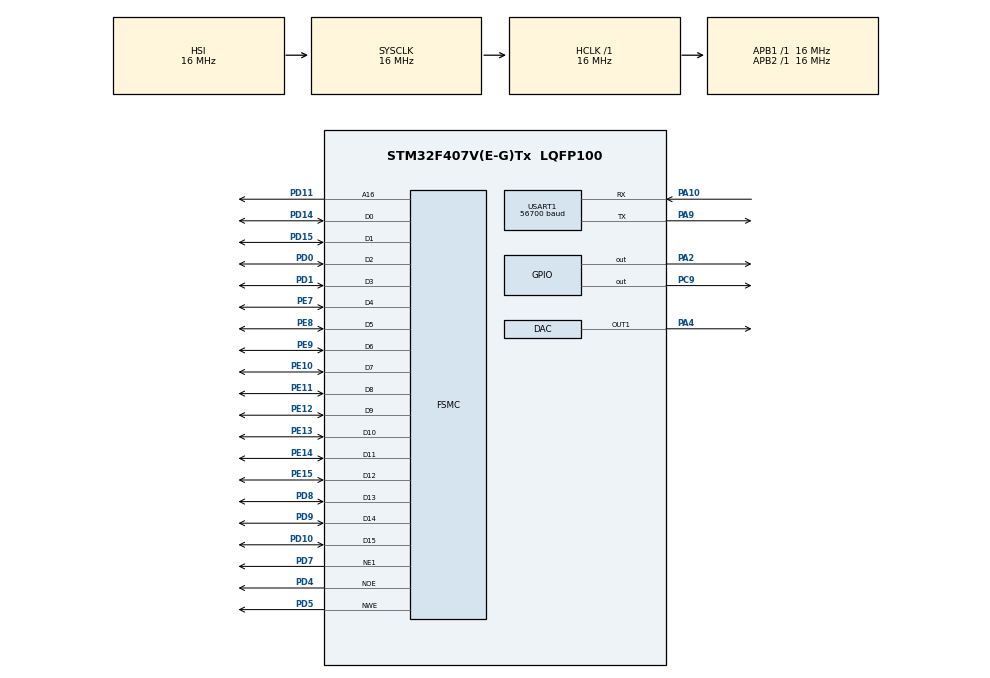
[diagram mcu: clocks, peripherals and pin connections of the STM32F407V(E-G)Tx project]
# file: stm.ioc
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Mcu.Family=STM32F4
Mcu.Name=STM32F407V(E-G)Tx
Mcu.Package=LQFP100
NVIC.PriorityGroup=NVIC_PRIORITYGROUP_4
NVIC.TIM1_UP_TIM10_IRQn=true\:0\:0\:false\:false\:true\:true\:true\:true
NVIC.USART1_IRQn=true\:0\:0\:false\:false\:true\:true\:true\:true
PA10.Mode=Asynchronous
PA10.Signal=USART1_RX
PA13.Mode=Serial_Wire
PA13.Signal=SYS_JTMS-SWDIO
PA14.Mode=Serial_Wire
PA14.Signal=SYS_JTCK-SWCLK
PA2.Signal=GPIO_Output
PA4.Signal=COMP_DAC1_group
PA9.Mode=Asynchronous
PA9.Signal=USART1_TX
PC14-OSC32_IN.Mode=LSE-External-Oscillator
PC14-OSC32_IN.Signal=RCC_OSC32_IN
PC15-OSC32_OUT.Mode=LSE-External-Oscillator
PC15-OSC32_OUT.Signal=RCC_OSC32_OUT
PC9.Signal=GPIO_Output
PD0.Mode=16b-d1
PD0.Signal=FSMC_D2
PD1.Mode=16b-d1
PD1.Signal=FSMC_D3
PD10.Mode=16b-d1
PD10.Signal=FSMC_D15
PD11.Mode=A16_1
PD11.Signal=FSMC_A16
PD14.Mode=16b-d1
PD14.Signal=FSMC_D0
PD15.Mode=16b-d1
PD15.Signal=FSMC_D1
PD4.Mode=Lcd1
PD4.Signal=FSMC_NOE
PD5.Mode=Lcd1
PD5.Signal=FSMC_NWE
PD7.Mode=NorPsramChipSelect1_1
PD7.Signal=FSMC_NE1
PD8.Mode=16b-d1
PD8.Signal=FSMC_D13
PD9.Mode=16b-d1
PD9.Signal=FSMC_D14
PE10.Mode=16b-d1
PE10.Signal=FSMC_D7
PE11.Mode=16b-d1
PE11.Signal=FSMC_D8
PE12.Mode=16b-d1
PE12.Signal=FSMC_D9
PE13.Mode=16b-d1
PE13.Signal=FSMC_D10
PE14.Mode=16b-d1
PE14.Signal=FSMC_D11
PE15.Mode=16b-d1
PE15.Signal=FSMC_D12
PE7.Mode=16b-d1
PE7.Signal=FSMC_D4
PE8.Mode=16b-d1
PE8.Signal=FSMC_D5
PE9.Mode=16b-d1
PE9.Signal=FSMC_D6
PH0-OSC_IN.Mode=HSE-External-Oscillator
PH0-OSC_IN.Signal=RCC_OSC_IN
PH1-OSC_OUT.Mode=HSE-External-Oscillator
PH1-OSC_OUT.Signal=RCC_OSC_OUT
ProjectManager.HeapSize=0x200
ProjectManager.StackSize=0x400
ProjectManager.TargetToolchain=CMake
RCC.AHBFreq_Value=16000000
RCC.APB1Freq_Value=16000000
RCC.APB2Freq_Value=16000000
RCC.CortexFreq_Value=16000000
RCC.HSE_VALUE=25000000
RCC.HSI_VALUE=16000000
RCC.SYSCLKFreq_VALUE=16000000
RCC.VCOOutputFreq_Value=192000000
SH.COMP_DAC1_group.0=DAC_OUT1,DAC_OUT1
TIM1.AutoReloadPreload=TIM_AUTORELOAD_PRELOAD_ENABLE
TIM1.Period=1000-1
TIM1.Prescaler=168-1
USART1.BaudRate=56700
USART1.VirtualMode=VM_ASYNC
VP_TIM1_VS_ClockSourceINT.Mode=Internal
board=custom

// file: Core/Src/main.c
/* USER CODE BEGIN Header */
/**
  ******************************************************************************
  * @file           : main.c
  * @brief          : Main program body
  ******************************************************************************
  * @attention
  *
  * Copyright (c) 2026 STMicroelectronics.
  * All rights reserved.
  *
  * This software is licensed under terms that can be found in the LICENSE file
  * in the root directory of this software component.
  * If no LICENSE file comes with this software, it is provided AS-IS.
  *
  ******************************************************************************
  */
/* USER CODE END Header */
#include "main.h"

/* USER CODE BEGIN Includes */
#include "fpr_zn632.h"
#include <stdint.h>
#include <stdio.h>
#include "lcd_ili9341.h"
#include "lcd_fonts.h"
/* USER CODE END Includes */

DAC_HandleTypeDef hdac;

TIM_HandleTypeDef htim1;

UART_HandleTypeDef huart1;

SRAM_HandleTypeDef hsram1;

void SystemClock_Config(void);
static void MX_GPIO_Init(void);
static void MX_USART1_UART_Init(void);
static void MX_TIM1_Init(void);
static void MX_DAC_Init(void);
static void MX_FSMC_Init(void);

/* USER CODE BEGIN 0 */

typedef enum
{
  ATTENDANCE_CHECK_IN = 0,
  ATTENDANCE_CHECK_OUT = 1
} AttendanceAction;

static uint8_t s_attendance_checked_in = 0;
static uint32_t s_attendance_punch_count = 0;

static void Attendance_FormatUptime(char *buffer, uint32_t buffer_len, uint32_t uptime_ms)
{
  uint32_t total_seconds = uptime_ms / 1000U;
  uint32_t hours = total_seconds / 3600U;
  uint32_t minutes = (total_seconds % 3600U) / 60U;
  uint32_t seconds = total_seconds % 60U;

  snprintf(buffer, buffer_len, "%02lu:%02lu:%02lu",
           (unsigned long)hours,
           (unsigned long)minutes,
           (unsigned long)seconds);
}

static void Attendance_ShowMessage(uint16_t text_color,
                                   const char *line1,
                                   const char *line2,
                                   const char *line3,
                                   const char *line4,
                                   const char *line5)
{
  LCD_SetColors(text_color, BLACK);
  LCD_Clear(0, 0, LCD_GetLenX(), LCD_GetLenY());

  if (line1 != NULL) {
    LCD_DispStringEN(8, LINE_EN(0), 0, (char *)line1);
  }
  if (line2 != NULL) {
    LCD_DispStringEN(8, LINE_EN(1), 0, (char *)line2);
  }
  if (line3 != NULL) {
    LCD_DispStringEN(8, LINE_EN(2), 0, (char *)line3);
  }
  if (line4 != NULL) {
    LCD_DispStringEN(8, LINE_EN(3), 0, (char *)line4);
  }
  if (line5 != NULL) {
    LCD_DispStringEN(8, LINE_EN(4), 0, (char *)line5);
  }
}

static void Attendance_ShowIdleScreen(void)
{
  Attendance_ShowMessage(CYAN,
                         "Company Attendance Demo",
                         "Place finger on sensor",
                         "",
                         "State: waiting for punch",
                         "");
}

static int16_t Attendance_ReadFinger(uint16_t *slot, uint16_t *score)
{
  int16_t ret;

  ret = FPR_GetImage();
  if (ret != FPR_OK) {
    return ret;
  }

  ret = FPR_GenChar(1);
  if (ret != FPR_OK) {
    return ret;
  }

  return FPR_HighSpeedSearch(1, slot, score);
}

static void Attendance_ShowPunchResult(uint16_t slot, uint16_t score, AttendanceAction action)
{
  char line[32];
  char time_buf[16];
  char emp_buf[32];
  char slot_buf[32];
  const char *action_text = (action == ATTENDANCE_CHECK_IN) ? "CHECK-IN" : "CHECK-OUT";
  uint16_t color = (action == ATTENDANCE_CHECK_IN) ? GREEN : YELLOW;

  Attendance_FormatUptime(time_buf, sizeof(time_buf), HAL_GetTick());
  snprintf(emp_buf, sizeof(emp_buf), "EMP ID: %04u", (unsigned)(1000U + slot));
  snprintf(slot_buf, sizeof(slot_buf), "SLOT: %03u  SCORE: %u", (unsigned)slot, (unsigned)score);

  Attendance_ShowMessage(color,
                         "Punch successful",
                         emp_buf,
                         slot_buf,
                         action_text,
                         time_buf);

  s_attendance_punch_count++;
  snprintf(line, sizeof(line), "COUNT: %lu", (unsigned long)s_attendance_punch_count);
  LCD_DispStringEN(8, LINE_EN(5), 0, line);
}

static void Attendance_ShowError(const char *line1, const char *line2)
{
  Attendance_ShowMessage(RED, line1, line2, "", "", "");
}

/* USER CODE END 0 */

int main(void)
{

  /* MCU Configuration--------------------------------------------------------*/

  /* Reset of all peripherals, Initializes the Flash interface and the Systick. */
  HAL_Init();

  /* Configure the system clock */
  SystemClock_Config();

  /* Initialize all configured peripherals */
  MX_GPIO_Init();
  MX_USART1_UART_Init();
  MX_TIM1_Init();
  MX_DAC_Init();
  MX_FSMC_Init();
  /* USER CODE BEGIN 2 */

  LCD_Init();
  LCD_SetFontEN(&ASCII_8x16);
  Attendance_ShowMessage(WHITE,
                         "3.2 inch LCD ready",
                         "Company attendance mode",
                         "",
                         "Initializing fingerprint...",
                         "");

  int16_t ret;

  ret = FPR_Init(56700);
  if (ret != FPR_OK) {
    Attendance_ShowError("Fingerprint init failed", "Check module wiring");
    while (1) {
    }
  }

  ret = FPR_EnrollFinger();
  if (ret != FPR_OK) {
    Attendance_ShowError("Fingerprint enroll failed", "Check module wiring");
    while (1) {
    }
  }

  ret = FPR_VerifyPassword(NULL);
  if (ret != FPR_OK) {
    Attendance_ShowError("Password verify failed", "Continue demo mode");
    HAL_Delay(1500);
  }

  FPR_ReadIndexTable();
  Attendance_ShowIdleScreen();

  /* USER CODE END 2 */

  /* Infinite loop */
  /* USER CODE BEGIN WHILE */
  while (1)
  {
    uint16_t slot = 0;
    uint16_t score = 0;

    ret = Attendance_ReadFinger(&slot, &score);
    if (ret == FPR_OK) {
      AttendanceAction action = (s_attendance_checked_in == 0U) ? ATTENDANCE_CHECK_IN : ATTENDANCE_CHECK_OUT;

      Attendance_ShowPunchResult(slot, score, action);
      s_attendance_checked_in ^= 1U;
      HAL_Delay(2000);
      Attendance_ShowIdleScreen();
    } else if (ret == FPR_ERROR_NOT_FOUND) {
      Attendance_ShowError("Finger not registered", "Please try again");
      HAL_Delay(1200);
      Attendance_ShowIdleScreen();
    } else if ((ret == FPR_ERROR_NO_FINGER) || (ret == FPR_ERROR_TIMEOUT)) {
      HAL_Delay(50);
    } else {
      Attendance_ShowError("Fingerprint error", "Please check sensor");
      HAL_Delay(1200);
      Attendance_ShowIdleScreen();
    }
    /* USER CODE END WHILE */

  }
}

void SystemClock_Config(void)
{
  RCC_OscInitTypeDef RCC_OscInitStruct = {0};
  RCC_ClkInitTypeDef RCC_ClkInitStruct = {0};

  /** Configure the main internal regulator output voltage
  */
  __HAL_RCC_PWR_CLK_ENABLE();
  __HAL_PWR_VOLTAGESCALING_CONFIG(PWR_REGULATOR_VOLTAGE_SCALE1);

  /** Initializes the RCC Oscillators according to the specified parameters
  * in the RCC_OscInitTypeDef structure.
  */
  RCC_OscInitStruct.OscillatorType = RCC_OSCILLATORTYPE_HSI;
  RCC_OscInitStruct.HSIState = RCC_HSI_ON;
  RCC_OscInitStruct.HSICalibrationValue = RCC_HSICALIBRATION_DEFAULT;
  RCC_OscInitStruct.PLL.PLLState = RCC_PLL_NONE;
  if (HAL_RCC_OscConfig(&RCC_OscInitStruct) != HAL_OK)
  {
    Error_Handler();
  }

  /** Initializes the CPU, AHB and APB buses clocks
  */
  RCC_ClkInitStruct.ClockType = RCC_CLOCKTYPE_HCLK|RCC_CLOCKTYPE_SYSCLK
                              |RCC_CLOCKTYPE_PCLK1|RCC_CLOCKTYPE_PCLK2;
  RCC_ClkInitStruct.SYSCLKSource = RCC_SYSCLKSOURCE_HSI;
  RCC_ClkInitStruct.AHBCLKDivider = RCC_SYSCLK_DIV1;
  RCC_ClkInitStruct.APB1CLKDivider = RCC_HCLK_DIV1;
  RCC_ClkInitStruct.APB2CLKDivider = RCC_HCLK_DIV1;

  if (HAL_RCC_ClockConfig(&RCC_ClkInitStruct, FLASH_LATENCY_0) != HAL_OK)
  {
    Error_Handler();
  }
}

static void MX_DAC_Init(void)
{

  DAC_ChannelConfTypeDef sConfig = {0};

  /** DAC Initialization
  */
  hdac.Instance = DAC;
  if (HAL_DAC_Init(&hdac) != HAL_OK)
  {
    Error_Handler();
  }

  /** DAC channel OUT1 config
  */
  sConfig.DAC_Trigger = DAC_TRIGGER_NONE;
  sConfig.DAC_OutputBuffer = DAC_OUTPUTBUFFER_ENABLE;
  if (HAL_DAC_ConfigChannel(&hdac, &sConfig, DAC_CHANNEL_1) != HAL_OK)
  {
    Error_Handler();
  }

}

static void MX_TIM1_Init(void)
{

  TIM_ClockConfigTypeDef sClockSourceConfig = {0};
  TIM_MasterConfigTypeDef sMasterConfig = {0};

  htim1.Instance = TIM1;
  htim1.Init.Prescaler = 168-1;
  htim1.Init.CounterMode = TIM_COUNTERMODE_UP;
  htim1.Init.Period = 1000-1;
  htim1.Init.ClockDivision = TIM_CLOCKDIVISION_DIV1;
  htim1.Init.RepetitionCounter = 0;
  htim1.Init.AutoReloadPreload = TIM_AUTORELOAD_PRELOAD_ENABLE;
  if (HAL_TIM_Base_Init(&htim1) != HAL_OK)
  {
    Error_Handler();
  }
  sClockSourceConfig.ClockSource = TIM_CLOCKSOURCE_INTERNAL;
  if (HAL_TIM_ConfigClockSource(&htim1, &sClockSourceConfig) != HAL_OK)
  {
    Error_Handler();
  }
  sMasterConfig.MasterOutputTrigger = TIM_TRGO_RESET;
  sMasterConfig.MasterSlaveMode = TIM_MASTERSLAVEMODE_DISABLE;
  if (HAL_TIMEx_MasterConfigSynchronization(&htim1, &sMasterConfig) != HAL_OK)
  {
    Error_Handler();
  }

}

static void MX_USART1_UART_Init(void)
{

  huart1.Instance = USART1;
  huart1.Init.BaudRate = 56700;
  huart1.Init.WordLength = UART_WORDLENGTH_8B;
  huart1.Init.StopBits = UART_STOPBITS_1;
  huart1.Init.Parity = UART_PARITY_NONE;
  huart1.Init.Mode = UART_MODE_TX_RX;
  huart1.Init.HwFlowCtl = UART_HWCONTROL_NONE;
  huart1.Init.OverSampling = UART_OVERSAMPLING_16;
  if (HAL_UART_Init(&huart1) != HAL_OK)
  {
    Error_Handler();
  }

}

static void MX_GPIO_Init(void)
{
  GPIO_InitTypeDef GPIO_InitStruct = {0};

  /* GPIO Ports Clock Enable */
  __HAL_RCC_GPIOC_CLK_ENABLE();
  __HAL_RCC_GPIOH_CLK_ENABLE();
  __HAL_RCC_GPIOA_CLK_ENABLE();
  __HAL_RCC_GPIOE_CLK_ENABLE();
  __HAL_RCC_GPIOD_CLK_ENABLE();

  /*Configure GPIO pin Output Level */
  HAL_GPIO_WritePin(GPIOA, GPIO_PIN_2, GPIO_PIN_RESET);

  /*Configure GPIO pin Output Level */
  HAL_GPIO_WritePin(GPIOC, GPIO_PIN_9, GPIO_PIN_RESET);

  /*Configure GPIO pin : PA2 */
  GPIO_InitStruct.Pin = GPIO_PIN_2;
  GPIO_InitStruct.Mode = GPIO_MODE_OUTPUT_PP;
  GPIO_InitStruct.Pull = GPIO_NOPULL;
  GPIO_InitStruct.Speed = GPIO_SPEED_FREQ_LOW;
  HAL_GPIO_Init(GPIOA, &GPIO_InitStruct);

  /*Configure GPIO pin : PC9 */
  GPIO_InitStruct.Pin = GPIO_PIN_9;
  GPIO_InitStruct.Mode = GPIO_MODE_OUTPUT_PP;
  GPIO_InitStruct.Pull = GPIO_NOPULL;
  GPIO_InitStruct.Speed = GPIO_SPEED_FREQ_LOW;
  HAL_GPIO_Init(GPIOC, &GPIO_InitStruct);

}

/* FSMC initialization function */
static void MX_FSMC_Init(void)
{

  FSMC_NORSRAM_TimingTypeDef Timing = {0};

  /** Perform the SRAM1 memory initialization sequence
  */
  hsram1.Instance = FSMC_NORSRAM_DEVICE;
  hsram1.Extended = FSMC_NORSRAM_EXTENDED_DEVICE;
  /* hsram1.Init */
  hsram1.Init.NSBank = FSMC_NORSRAM_BANK1;
  hsram1.Init.DataAddressMux = FSMC_DATA_ADDRESS_MUX_DISABLE;
  hsram1.Init.MemoryType = FSMC_MEMORY_TYPE_SRAM;
  hsram1.Init.MemoryDataWidth = FSMC_NORSRAM_MEM_BUS_WIDTH_16;
  hsram1.Init.BurstAccessMode = FSMC_BURST_ACCESS_MODE_DISABLE;
  hsram1.Init.WaitSignalPolarity = FSMC_WAIT_SIGNAL_POLARITY_LOW;
  hsram1.Init.WrapMode = FSMC_WRAP_MODE_DISABLE;
  hsram1.Init.WaitSignalActive = FSMC_WAIT_TIMING_BEFORE_WS;
  hsram1.Init.WriteOperation = FSMC_WRITE_OPERATION_ENABLE;
  hsram1.Init.WaitSignal = FSMC_WAIT_SIGNAL_DISABLE;
  hsram1.Init.ExtendedMode = FSMC_EXTENDED_MODE_DISABLE;
  hsram1.Init.AsynchronousWait = FSMC_ASYNCHRONOUS_WAIT_DISABLE;
  hsram1.Init.WriteBurst = FSMC_WRITE_BURST_DISABLE;
  hsram1.Init.PageSize = FSMC_PAGE_SIZE_NONE;
  /* Timing */
  Timing.AddressSetupTime = 15;
  Timing.AddressHoldTime = 15;
  Timing.DataSetupTime = 255;
  Timing.BusTurnAroundDuration = 15;
  Timing.CLKDivision = 16;
  Timing.DataLatency = 17;
  Timing.AccessMode = FSMC_ACCESS_MODE_A;
  /* ExtTiming */

  if (HAL_SRAM_Init(&hsram1, &Timing, NULL) != HAL_OK)
  {
    Error_Handler( );
  }

}

void Error_Handler(void)
{
  __disable_irq();
  while (1)
  {
  }
}
